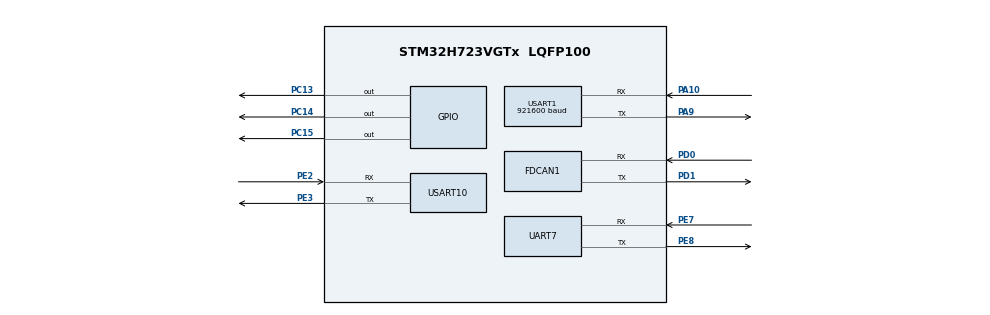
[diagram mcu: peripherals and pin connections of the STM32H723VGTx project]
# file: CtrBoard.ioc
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CORTEX_M7.CPU_DCache=Disabled
CORTEX_M7.CPU_ICache=Disabled
FDCAN1.AutoRetransmission=ENABLE
FDCAN1.CalculateBaudRateNominal=1000000
FDCAN1.CalculateTimeBitNominal=1000
FDCAN1.CalculateTimeQuantumNominal=12.5
FDCAN1.DataPrescaler=1
FDCAN1.DataSyncJumpWidth=2
FDCAN1.DataTimeSeg1=13
FDCAN1.DataTimeSeg2=2
FDCAN1.ExtFiltersNbr=4
FDCAN1.FrameFormat=FDCAN_FRAME_FD_BRS
FDCAN1.NominalPrescaler=1
FDCAN1.NominalSyncJumpWidth=20
FDCAN1.NominalTimeSeg1=59
FDCAN1.NominalTimeSeg2=20
FDCAN1.ProtocolException=ENABLE
FDCAN1.RxBufferSize=FDCAN_DATA_BYTES_8
FDCAN1.RxBuffersNbr=2
FDCAN1.RxFifo0ElmtSize=FDCAN_DATA_BYTES_8
FDCAN1.RxFifo0ElmtsNbr=10
FDCAN1.RxFifo1ElmtSize=FDCAN_DATA_BYTES_8
FDCAN1.RxFifo1ElmtsNbr=10
FDCAN1.StdFiltersNbr=4
FDCAN1.TxBuffersNbr=10
FDCAN1.TxElmtSize=FDCAN_DATA_BYTES_8
FDCAN1.TxEventsNbr=10
FDCAN1.TxFifoQueueElmtsNbr=10
Mcu.Family=STM32H7
Mcu.Name=STM32H723VGTx
Mcu.Package=LQFP100
NVIC.FDCAN1_IT0_IRQn=true\:0\:0\:false\:false\:true\:true\:true\:true
NVIC.FDCAN1_IT1_IRQn=true\:0\:0\:false\:false\:true\:true\:true\:true
NVIC.FDCAN_CAL_IRQn=true\:0\:0\:false\:false\:true\:true\:true\:true
NVIC.PriorityGroup=NVIC_PRIORITYGROUP_4
NVIC.TIM3_IRQn=true\:0\:0\:false\:false\:true\:true\:true\:true
NVIC.TIM4_IRQn=true\:0\:0\:false\:false\:true\:true\:true\:true
NVIC.UART7_IRQn=true\:0\:0\:false\:false\:true\:true\:true\:true
PA10.Mode=Asynchronous
PA10.Signal=USART1_RX
PA13(JTMS/SWDIO).Mode=Serial_Wire
PA13(JTMS/SWDIO).Signal=DEBUG_JTMS-SWDIO
PA14(JTCK/SWCLK).Mode=Serial_Wire
PA14(JTCK/SWCLK).Signal=DEBUG_JTCK-SWCLK
PA9.Mode=Asynchronous
PA9.Signal=USART1_TX
PC13.Signal=GPIO_Output
PC14-OSC32_IN.Signal=GPIO_Output
PC15-OSC32_OUT.Signal=GPIO_Output
PD0.Mode=FDCAN_Activate
PD0.Signal=FDCAN1_RX
PD1.Mode=FDCAN_Activate
PD1.Signal=FDCAN1_TX
PE2.Mode=Asynchronous
PE2.Signal=USART10_RX
PE3.Mode=Asynchronous
PE3.Signal=USART10_TX
PE7.Mode=Asynchronous
PE7.Signal=UART7_RX
PE8.Mode=Asynchronous
PE8.Signal=UART7_TX
PH0-OSC_IN.Mode=HSE-External-Oscillator
PH0-OSC_IN.Signal=RCC_OSC_IN
PH1-OSC_OUT.Mode=HSE-External-Oscillator
PH1-OSC_OUT.Signal=RCC_OSC_OUT
ProjectManager.HeapSize=0x2000
ProjectManager.StackSize=0x400
ProjectManager.TargetToolchain=MDK-ARM V5.32
RCC.ADCFreq_Value=48375000
RCC.APB1Freq_Value=120000000
RCC.APB2Freq_Value=120000000
RCC.APB3Freq_Value=120000000
RCC.APB4Freq_Value=120000000
RCC.CortexFreq_Value=480000000
RCC.D1PPRE=RCC_APB3_DIV2
RCC.D2PPRE1=RCC_APB1_DIV2
RCC.D2PPRE2=RCC_APB2_DIV2
RCC.D3PPRE=RCC_APB4_DIV2
RCC.DIVM1=2
RCC.DIVN1=40
RCC.DIVP1=1
RCC.DIVQ1=6
RCC.HCLKFreq_Value=240000000
RCC.HPRE=RCC_HCLK_DIV2
RCC.HSE_VALUE=24000000
RCC.PLLFRACN=0
RCC.PLLSourceVirtual=RCC_PLLSOURCE_HSE
RCC.RCC_MCO1Source=RCC_MCO1SOURCE_HSE
RCC.SYSCLKFreq_VALUE=480000000
RCC.SYSCLKSource=RCC_SYSCLKSOURCE_PLLCLK
RCC.USBCLockSelection=RCC_USBCLKSOURCE_HSI48
RCC.USBFreq_Value=48000000
TIM3.Period=1000-1
TIM3.Prescaler=240-1
TIM4.Period=1000-1
TIM4.Prescaler=240-1
USART1.BaudRate=921600
USART1.VirtualMode-Asynchronous=VM_ASYNC
USART10.VirtualMode=VM_ASYNC
VP_TIM3_VS_ClockSourceINT.Mode=Internal
VP_TIM4_VS_ClockSourceINT.Mode=Internal
board=custom

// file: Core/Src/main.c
    /* USER CODE BEGIN Header */
    /**
     ******************************************************************************
    * @file           : main.c
    * @brief          : Main program body
    ******************************************************************************
    */
    /* USER CODE END Header */
    /* Includes ------------------------------------------------------------------*/
    #include "main.h"
    #include "fdcan.h"
    #include "tim.h"
    #include "usart.h"
    #include "gpio.h"
    #include <stdio.h>
    #include <string.h>

    /* Private includes ----------------------------------------------------------*/
    /* USER CODE BEGIN Includes */
    #include "bsp_fdcan.h"
    #include "dm_motor_ctrl.h"
    #include <math.h>
    /* USER CODE END Includes */

    /* Private typedef -----------------------------------------------------------*/

    /* Private define ------------------------------------------------------------*/

    /* Private macro -------------------------------------------------------------*/

    /* Private variables ---------------------------------------------------------*/

    /* USER CODE BEGIN PV */

    uint8_t rx_buffer[1];       // 接收缓冲
    uint8_t data_buffer[11];    // 协议包缓冲
    uint8_t rx_cnt = 0;         // 计数

    // --- 物理量定义 ---
    volatile float acc[3];        // 原始加速度 (含重力)
    volatile float angle[3];      // 角度 (Roll, Pitch, Yaw)
    volatile float linear_acc[3]; // 纯运动加速度 (去除重力)
    volatile float linear_acc_filt[3] = {0.0f};
    volatile float residual_acc[3]    = {0.0f};

    // 计数器
    volatile uint32_t update_counter = 0;
    uint32_t print_index = 0;

    // 加速度滤波系数：越小越平滑
    const float ACC_ALPHA[3] = {1.0f, 0.50f, 0.50f};
    // 残余振动记忆系数：越接近1，记忆越久
    const float RES_ALPHA[3] = {0.0f, 0.5f, 0.5f};

    // --- 多电机管理数组 ---

    // 下标0->Motor1(X), 下标1->Motor2(Y), 下标2->Motor3(Z)9
    volatile float Motor_Zero_Offset[4] = {0.0f};
    volatile uint8_t Motor_Is_Zeroed[4] = {0};
    volatile float Motor_Show_Pos[4]    = {0.0f};

    // --- 参数设置 (数组化，方便三轴独立调试) ---
    // 建议调试顺序：先调X，把Y/Z的KP设为0；然后调Y...
    double Kp_Vib[3] = {-0.125, 0, 0.0}; // 三轴抑振力度 double Kp_Vib[3] = {-0.5, 0.06, -0.06};
    double Kv_damp[3] = {0.0f,0.00f,0.000f};// 质量块速度阻尼 double Kv_damp[3] = {0.0,0.002,0.002f};
    double Kr_Res[3]     = {-0.6, 0.0, -0.00};   // 残余振动项 double Kr_Res[3]     = {-0.6, 0.6, 0};
    float kr_acc_start = 0.125f; //参与振动开始加速度，低于这个加速度值才开始振动抑制
    // 恒定力矩补偿（主要给X方向抗重力）
    double Torque_Bias[3] = {0.00, 0.0, 0.0};

        // 软限位范围 (虚拟墙开始介入的位置)
    const float SOFT_LIMIT_RAD[3] = {1.5f, 1.5f, 1.5f};  //const float SOFT_LIMIT_RAD[3] = {1.5f, 1.5f, 1.5f};

    // 虚拟墙参数
    const float WALL_K_SPRING[3]  = {0.0f, 0.03f, 0.03f};//const float WALL_K_SPRING[3]  = {0.03f, 0.01f, 0.01f};

    // 物理最大力矩保护
    const float MAX_TORQUE = 1.0f;

    /* USER CODE END PV */

    /* Private function prototypes -----------------------------------------------*/
    void SystemClock_Config(void);

    /* Private user code ---------------------------------------------------------*/
    /* USER CODE BEGIN 0 */

    /**
     * @brief  FDCAN FIFO0 接收中断回调函数
     * @note   这里简单粗暴地根据 CAN ID 判断是哪个电机
     */
    void HAL_FDCAN_RxFifo0Callback(FDCAN_HandleTypeDef *hfdcan, uint32_t RxFifo0ITs)
    {
        FDCAN_RxHeaderTypeDef RxHeader;
        uint8_t RxData[8];

        if ((RxFifo0ITs & FDCAN_IT_RX_FIFO0_NEW_MESSAGE) != RESET)
        {
            if (HAL_FDCAN_GetRxMessage(hfdcan, FDCAN_RX_FIFO0, &RxHeader, RxData) == HAL_OK)
            {
                int motor_idx = -1;

                // --- 简单判断 ID (假设反馈ID是 0x11, 0x12, 0x13) ---
                // 注意：这里取决于电机反馈的 ID 是 Master ID 还是 CAN ID
                // 既然你之前单轴用的是 0x11 (mst_id)，这里我按 0x11, 0x12, 0x13 来写
                if      (RxHeader.Identifier == 0x11) motor_idx = Motor1; // 0
                else if (RxHeader.Identifier == 0x12) motor_idx = Motor2; // 1
                else if (RxHeader.Identifier == 0x13) motor_idx = Motor3; // 2

                // 如果匹配到了有效的电机
                if (motor_idx >= 0)
                {
                    dm_motor_fbdata(&motor[motor_idx], RxData); // 解析数据

                    // --- 自动记录上电零点 (每个电机独立记录) ---
                    if (Motor_Is_Zeroed[motor_idx] == 0)
                    {
                        Motor_Zero_Offset[motor_idx] = motor[motor_idx].para.pos;
                        Motor_Is_Zeroed[motor_idx] = 1;
                    }

                    motor[motor_idx].tmp.read_flag = 1;
                }
            }
        }
    }

    // 错误处理回调
    void HAL_UART_ErrorCallback(UART_HandleTypeDef *huart)
    {
        if (huart->Instance == UART7)
        {
            __HAL_UART_CLEAR_OREFLAG(huart);
            HAL_UART_Receive_IT(&huart7, rx_buffer, 1);
        }
    }

    // 定时器回调（这里暂时不用发指令，指令移到主循环统一发）
    void HAL_TIM_PeriodElapsedCallback(TIM_HandleTypeDef *htim)
    {
    /* USER CODE BEGIN Callback 0 */
        if (htim->Instance == TIM3) {
            // 空置，主循环控制
        }
    }

    // 串口接收中断回调（保持原样，计算 Acc）
    void HAL_UART_RxCpltCallback(UART_HandleTypeDef *huart)
    {
        if (huart->Instance == UART7)
        {
            uint8_t received_byte = rx_buffer[0];

            if (rx_cnt == 0 && received_byte != 0x55) {
                HAL_UART_Receive_IT(&huart7, rx_buffer, 1);
                return;
            }

            data_buffer[rx_cnt++] = received_byte;

            if (rx_cnt >= 11) {
                rx_cnt = 0;
                uint8_t sum = 0;
                for (int i = 0; i < 10; i++) sum += data_buffer[i];

                if (sum == data_buffer[10])
                {
                    if (data_buffer[1] == 0x51)
                    {
                        short ax_raw = (short)((data_buffer[3] << 8) | data_buffer[2]);
                        short ay_raw = (short)((data_buffer[5] << 8) | data_buffer[4]);
                        short az_raw = (short)((data_buffer[7] << 8) | data_buffer[6]);
                        acc[0] = (float)ax_raw / 32768.0f * 16.0f;
                        acc[1] = (float)ay_raw / 32768.0f * 16.0f;
                        acc[2] = (float)az_raw / 32768.0f * 16.0f;
                    }
                    else if (data_buffer[1] == 0x53)
                    {
                        short roll_raw  = (short)((data_buffer[3] << 8) | data_buffer[2]);
                        short pitch_raw = (short)((data_buffer[5] << 8) | data_buffer[4]);
                        short yaw_raw   = (short)((data_buffer[7] << 8) | data_buffer[6]);
                        angle[0] = (float)roll_raw / 32768.0f * 180.0f;
                        angle[1] = (float)pitch_raw / 32768.0f * 180.0f;
                        angle[2] = (float)yaw_raw / 32768.0f * 180.0f;

                        // 去重力计算
                        float rad_roll  = angle[0] * 0.0174533f;
                        float rad_pitch = angle[1] * 0.0174533f;

                        float g_x = -sinf(rad_pitch);
                        float g_y = cosf(rad_pitch) * sinf(rad_roll);
                        float g_z = cosf(rad_pitch) * cosf(rad_roll);

                        linear_acc[0] = acc[0] - g_x;
                        linear_acc[1] = acc[1] - g_y;
                        linear_acc[2] = acc[2] - g_z;

                        update_counter++;
                    }
                }
            }
            HAL_UART_Receive_IT(&huart7, rx_buffer, 1);
        }
    }
    /* USER CODE END 0 */

    /**
     * @brief  The application entry point.
     * @retval int
     */
    int main(void)
    {

    /* MCU Configuration--------------------------------------------------------*/

    /* Reset of all peripherals, Initializes the Flash interface and the Systick. */
    HAL_Init();

    /* Configure the system clock */
    SystemClock_Config();

    /* Initialize all configured peripherals */
    MX_GPIO_Init();
    MX_FDCAN1_Init();
    MX_TIM3_Init();
    MX_USART1_UART_Init();
    MX_TIM4_Init();
    MX_UART7_Init();
    MX_USART10_UART_Init();

    /* USER CODE BEGIN 2 */

        // --- 1. 电源配置 ---
        GPIO_InitTypeDef GPIO_InitStruct = {0};
        __HAL_RCC_GPIOC_CLK_ENABLE();
        GPIO_InitStruct.Pin = GPIO_PIN_15;
        GPIO_InitStruct.Mode = GPIO_MODE_OUTPUT_PP;
        GPIO_InitStruct.Pull = GPIO_PULLUP;
        GPIO_InitStruct.Speed = GPIO_SPEED_FREQ_LOW;
        HAL_GPIO_Init(GPIOC, &GPIO_InitStruct);

        power(1);
        power_2(1);
        power_5v(1);
        HAL_Delay(1000);

        // --- 2. 传感器配置 ---
        uint8_t cfg_200hz[] = {0xFF, 0xAA, 0x03, 0x0B, 0x00};
        HAL_UART_Transmit(&huart7, cfg_200hz, 5, 100);
        HAL_Delay(100);

        // --- 3. 电机初始化 (3个电机) ---
        bsp_fdcan_set_baud(&hfdcan1, CAN_CLASS, CAN_BR_1M);
        bsp_can_init();
        dm_motor_init(); // 初始化结构体
        HAL_Delay(10);

        // 开启中断
        if (HAL_FDCAN_ActivateNotification(&hfdcan1, FDCAN_IT_RX_FIFO0_NEW_MESSAGE, 0) != HAL_OK)
        {
            Error_Handler();
        }

        // 依次使能三个电机
        dm_motor_enable(&hfdcan1, &motor[Motor1]); HAL_Delay(100);
        dm_motor_enable(&hfdcan1, &motor[Motor2]); HAL_Delay(100);
        dm_motor_enable(&hfdcan1, &motor[Motor3]); HAL_Delay(100);

        HAL_TIM_Base_Start_IT(&htim3);

        // --- 4. 传感器启动 ---
        HAL_UART_Transmit(&huart10, (uint8_t*)"System Start: 3-Axis Control\r\n", 30, 100);

        __HAL_UART_CLEAR_OREFLAG(&huart7);
        HAL_UART_Receive_IT(&huart7, rx_buffer, 1);

    /* USER CODE END 2 */

    /* Infinite loop */
    while (1)
    {

        /* USER CODE BEGIN 3 */
            // 使能三个电机
        dm_motor_enable(&hfdcan1, &motor[Motor1]);
        dm_motor_enable(&hfdcan1, &motor[Motor2]);
        dm_motor_enable(&hfdcan1, &motor[Motor3]);

        // ============================================
        // === 循环处理 3 个轴 (i=0:X, i=1:Y, i=2:Z) ===
        // ============================================
        for (int i = 0; i < 3; i++)
        {
            // 当前加速度低通
            linear_acc_filt[i] = ACC_ALPHA[i] * linear_acc[i]
                            + (1.0f - ACC_ALPHA[i]) * linear_acc_filt[i];

            // 残余振动状态（慢衰减记忆）
            residual_acc[i] = RES_ALPHA[i] * residual_acc[i]
                            + (1.0f - RES_ALPHA[i]) * linear_acc_filt[i];

            Motor_Show_Pos[i] = motor[i].para.pos - Motor_Zero_Offset[i];

            float cur_pos = Motor_Show_Pos[i];
            float cur_vel = motor[i].para.vel;
            float tor_final = 0.0f;
            float tor_vib = 0.0f;
            //float tor_vib = Kp_Vib[i] * linear_acc_filt[i];// 当前快速响应 Kp_Vib[i] * linear_acc[i]
            float tor_damp = -Kv_damp[i] * cur_vel;// 电机质量块自身阻尼

            float tor_res = 0.0f;
            float tor_gravity = (float)Torque_Bias[i];

            if (fabsf(linear_acc_filt[i]) < kr_acc_start)
            {
                //tor_res = Kr_Res[i] * residual_acc[i];
                tor_res = Kr_Res[i] * linear_acc_filt[i];
                tor_vib = 0.0f;
            }
            else
            {
                tor_res = 0.0f;
                tor_vib = Kp_Vib[i] * linear_acc_filt[i];
            }

            // --- C. 虚拟墙力矩 ---
            float tor_wall = 0.0f;
        /*
            if (cur_pos > 0)
            {
                float depth = cur_pos;
                tor_wall = -1.0f * (WALL_K_SPRING[i] * depth);
            }
            else if (cur_pos < 0)
            {
                float depth = cur_pos;
                tor_wall = -1.0f * (WALL_K_SPRING[i] * depth);
            }
            */

            if (cur_pos > SOFT_LIMIT_RAD[i])
            {
                float depth = cur_pos - SOFT_LIMIT_RAD[i];
                tor_wall = -1.0f * (WALL_K_SPRING[i] * depth);
            }
            else if (cur_pos < -SOFT_LIMIT_RAD[i])
            {
                float depth = cur_pos - (-SOFT_LIMIT_RAD[i]);
                tor_wall = -1.0f * (WALL_K_SPRING[i] * depth);
            }

            // --- D. 合成 ---
            tor_final = tor_vib + tor_res + tor_damp + tor_wall + tor_gravity;

            // --- E. 限幅 ---
            if (tor_final > MAX_TORQUE)  tor_final = MAX_TORQUE;
            if (tor_final < -MAX_TORQUE) tor_final = -MAX_TORQUE;
            // --- F. 发送 ---
            motor[i].ctrl.tor_set = tor_final;

            // 只有读到数据了才发，或者无条件发(推荐无条件发，保证响应)
            dm_motor_ctrl_send(&hfdcan1, &motor[i]);

            motor[i].tmp.read_flag = 0;
        }
                // 每个电机发完歇 1ms，防止 CAN 拥堵
            HAL_Delay(1);
        /************用来打印加速度的***************
        if (update_counter >= 10)
        {
                update_counter = 0;

                char print_buf[64];

                sprintf(print_buf,"%lu,%.6f\r\n", print_index++, linear_acc[1]);

                HAL_UART_Transmit(&huart10, (uint8_t*)print_buf, strlen(print_buf), 50);
        }
        *************************************/

        // --- 打印三轴加速度：序号,ax,ay,az ---
        if (update_counter >= 1)
        {
            update_counter = 0;
            char print_buf[128];

            sprintf(print_buf, "%lu,%.6f,%.6f,%.6f\r\n",
                    ++print_index,
                    linear_acc[0],
                    linear_acc[1],
                    linear_acc[2]);

            HAL_UART_Transmit(&huart10, (uint8_t*)print_buf, strlen(print_buf), 50);

        }

    }
    /* USER CODE END 3 */
    }

    /**
     * @brief System Clock Configuration
     * @retval None
     */
    void SystemClock_Config(void)
    {
    RCC_OscInitTypeDef RCC_OscInitStruct = {0};
    RCC_ClkInitTypeDef RCC_ClkInitStruct = {0};

    /** Supply configuration update enable
     */
    HAL_PWREx_ConfigSupply(PWR_LDO_SUPPLY);

    /** Configure the main internal regulator output voltage
     */
    __HAL_PWR_VOLTAGESCALING_CONFIG(PWR_REGULATOR_VOLTAGE_SCALE0);

    while(!__HAL_PWR_GET_FLAG(PWR_FLAG_VOSRDY)) {}

    /** Initializes the RCC Oscillators according to the specified parameters
     * in the RCC_OscInitTypeDef structure.
     */
    RCC_OscInitStruct.OscillatorType = RCC_OSCILLATORTYPE_HSE;
    RCC_OscInitStruct.HSEState = RCC_HSE_ON;
    RCC_OscInitStruct.PLL.PLLState = RCC_PLL_ON;
    RCC_OscInitStruct.PLL.PLLSource = RCC_PLLSOURCE_HSE;
    RCC_OscInitStruct.PLL.PLLM = 2;
    RCC_OscInitStruct.PLL.PLLN = 40;
    RCC_OscInitStruct.PLL.PLLP = 1;
    RCC_OscInitStruct.PLL.PLLQ = 6;
    RCC_OscInitStruct.PLL.PLLR = 2;
    RCC_OscInitStruct.PLL.PLLRGE = RCC_PLL1VCIRANGE_3;
    RCC_OscInitStruct.PLL.PLLVCOSEL = RCC_PLL1VCOWIDE;
    RCC_OscInitStruct.PLL.PLLFRACN = 0;
    if (HAL_RCC_OscConfig(&RCC_OscInitStruct) != HAL_OK)
    {
        Error_Handler();
    }

    /** Initializes the CPU, AHB and APB buses clocks
     */
    RCC_ClkInitStruct.ClockType = RCC_CLOCKTYPE_HCLK|RCC_CLOCKTYPE_SYSCLK
                                |RCC_CLOCKTYPE_PCLK1|RCC_CLOCKTYPE_PCLK2
                                |RCC_CLOCKTYPE_D3PCLK1|RCC_CLOCKTYPE_D1PCLK1;
    RCC_ClkInitStruct.SYSCLKSource = RCC_SYSCLKSOURCE_PLLCLK;
    RCC_ClkInitStruct.SYSCLKDivider = RCC_SYSCLK_DIV1;
    RCC_ClkInitStruct.AHBCLKDivider = RCC_HCLK_DIV2;
    RCC_ClkInitStruct.APB3CLKDivider = RCC_APB3_DIV2;
    RCC_ClkInitStruct.APB1CLKDivider = RCC_APB1_DIV2;
    RCC_ClkInitStruct.APB2CLKDivider = RCC_APB2_DIV2;
    RCC_ClkInitStruct.APB4CLKDivider = RCC_APB4_DIV2;

    if (HAL_RCC_ClockConfig(&RCC_ClkInitStruct, FLASH_LATENCY_3) != HAL_OK)
    {
        Error_Handler();
    }
    }

    /**
     * @brief  This function is executed in case of error occurrence.
     * @retval None
     */
    void Error_Handler(void)
    {
    __disable_irq();
    while (1)
    {
    }
    }

    #ifdef  USE_FULL_ASSERT
    /**
     * @brief  Reports the name of the source file and the source line number
     * where the assert_param error has occurred.
     * @param  file: pointer to the source file name
     * @param  line: assert_param error line source number
     * @retval None
     */
    void assert_failed(uint8_t *file, uint32_t line)
    {
    }
    #endif /* USE_FULL_ASSERT */
